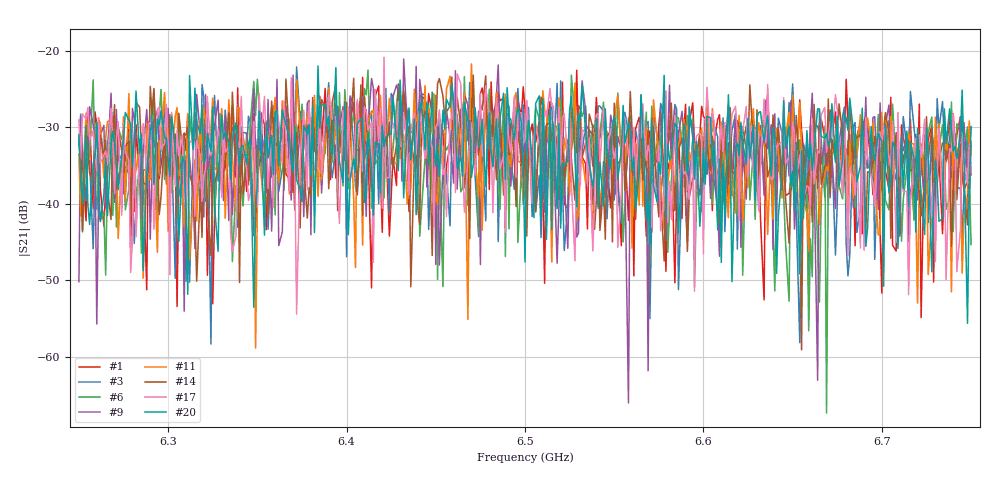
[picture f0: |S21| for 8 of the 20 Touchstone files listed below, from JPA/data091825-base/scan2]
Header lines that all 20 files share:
# Hz S RI R 50
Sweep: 6.25 GHz to 6.75 GHz
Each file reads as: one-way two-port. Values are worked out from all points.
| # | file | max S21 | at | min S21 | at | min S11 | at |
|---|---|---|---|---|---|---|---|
| 1 | trace80.s2p | -22.51 dB | 6.529 GHz | -54.9 dB | 6.722 GHz | -3.2 dB | 6.682 GHz |
| 2 | trace81.s2p | -22.10 dB | 6.274 GHz | -61.8 dB | 6.624 GHz | -3.5 dB | 6.681 GHz |
| 3 | trace82.s2p | -22.10 dB | 6.372 GHz | -58.3 dB | 6.324 GHz | -3.5 dB | 6.676 GHz |
| 4 | trace83.s2p | -21.59 dB | 6.456 GHz | -67.6 dB | 6.636 GHz | -3.3 dB | 6.695 GHz |
| 5 | trace84.s2p | -22.82 dB | 6.428 GHz | -66.3 dB | 6.614 GHz | -3.1 dB | 6.659 GHz |
| 6 | trace85.s2p | -22.50 dB | 6.412 GHz | -67.3 dB | 6.669 GHz | -3.2 dB | 6.686 GHz |
| 7 | trace86.s2p | -22.63 dB | 6.356 GHz | -55.8 dB | 6.721 GHz | -3.4 dB | 6.664 GHz |
| 8 | trace87.s2p | -22.48 dB | 6.418 GHz | -56.4 dB | 6.551 GHz | -3.3 dB | 6.674 GHz |
| 9 | trace88.s2p | -21.05 dB | 6.432 GHz | -66.0 dB | 6.558 GHz | -3.4 dB | 6.629 GHz |
| 10 | trace89.s2p | -21.15 dB | 6.414 GHz | -78.2 dB | 6.625 GHz | -3.7 dB | 6.672 GHz |
| 11 | trace90.s2p | -21.68 dB | 6.47 GHz | -58.8 dB | 6.349 GHz | -3.4 dB | 6.668 GHz |
| 12 | trace91.s2p | -21.54 dB | 6.429 GHz | -54.1 dB | 6.264 GHz | -3.4 dB | 6.689 GHz |
| 13 | trace92.s2p | -21.81 dB | 6.436 GHz | -64.9 dB | 6.4 GHz | -3.3 dB | 6.649 GHz |
| 14 | trace93.s2p | -23.16 dB | 6.471 GHz | -59.1 dB | 6.655 GHz | -3.4 dB | 6.67 GHz |
| 15 | trace94.s2p | -22.29 dB | 6.391 GHz | -57.2 dB | 6.514 GHz | -3.3 dB | 6.685 GHz |
| 16 | trace95.s2p | -21.04 dB | 6.426 GHz | -69.2 dB | 6.74 GHz | -3.4 dB | 6.656 GHz |
| 17 | trace96.s2p | -20.82 dB | 6.421 GHz | -54.4 dB | 6.372 GHz | -3.2 dB | 6.678 GHz |
| 18 | trace97.s2p | -22.31 dB | 6.386 GHz | -65.2 dB | 6.679 GHz | -3.5 dB | 6.634 GHz |
| 19 | trace98.s2p | -22.76 dB | 6.41 GHz | -61.7 dB | 6.394 GHz | -3.5 dB | 6.661 GHz |
| 20 | trace99.s2p | -21.95 dB | 6.384 GHz | -55.6 dB | 6.748 GHz | -3.3 dB | 6.67 GHz |
